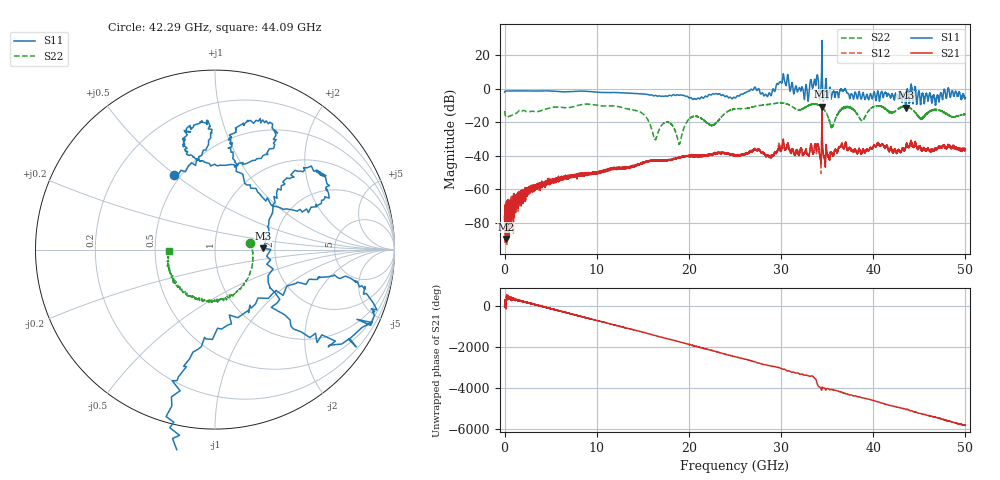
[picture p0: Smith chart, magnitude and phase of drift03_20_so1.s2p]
!Created with skrf (http://scikit-rf.org).
# Hz S RI R 50.0
!freq ReS11 ImS11 ReS21 ImS21 ReS12 ImS12 ReS22 ImS22
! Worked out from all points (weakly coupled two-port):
!   10000 points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, 5.3 MHz to 50 GHz, reference 50 ohm
!   highest |S21| = -10.65 dB at 34.43 GHz (marker M1); lowest = -89.4 dB at 160.3 MHz (marker M2)
!   lowest |S11| = -11.4 dB at 43.52 GHz (marker M3), VSWR 1.73, Z = 86.6 + j1.46 ohm
!   |S11| at or under -10 dB: 43.50238 GHz to 43.54209 GHz (39.71 MHz wide, 0.0913 % of centre)
!   |S22| runs from -33.0 to -8.4 dB; largest |S21 - S12| = 0.09
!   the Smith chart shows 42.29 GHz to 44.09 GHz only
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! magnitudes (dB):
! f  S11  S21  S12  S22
! 5.3 MHz  -2.1  -76.6  -75.2  -13.3
! 160.3 MHz  -1.4  -89.4  -74.7  -16.9
! 2.795 GHz  -1.4  -60.1  -58.7  -13.6
! 8.34 GHz  -1.5  -50.9  -50.9  -9.5
! 14.53 GHz  -3.1  -45.0  -45.3  -13.5
! 16.67 GHz  -4.4  -43.0  -42.7  -25.9
! 17.81 GHz  -4.2  -42.5  -42.4  -20.1
! 18.97 GHz  -3.9  -41.0  -41.1  -33.0
! 20.28 GHz  -5.5  -39.8  -40.0  -17.0
! 22.56 GHz  -3.1  -39.0  -39.3  -21.9
! 25.01 GHz  -5.5  -39.8  -39.5  -12.1
! 30.14 GHz  4.4  -33.9  -33.7  -8.6
! 33.34 GHz  2.6  -34.9  -35.0  -9.4
! 34.43 GHz  28.7  -10.6  -12.7  -10.9
! 35.53 GHz  -3.4  -38.7  -39.0  -23.1
! 36.95 GHz  0.0  -33.4  -33.2  -11.2
! 38.76 GHz  -5.6  -38.2  -38.3  -19.0
! 40.17 GHz  -3.2  -33.9  -34.3  -10.5
! 41.67 GHz  -3.1  -37.0  -36.7  -13.6
! 43.52 GHz  -11.4  -34.8  -35.0  -10.7
! 45.19 GHz  -7.0  -36.1  -36.4  -17.7
! 50 GHz  -5.3  -36.3  -36.5  -15.5
